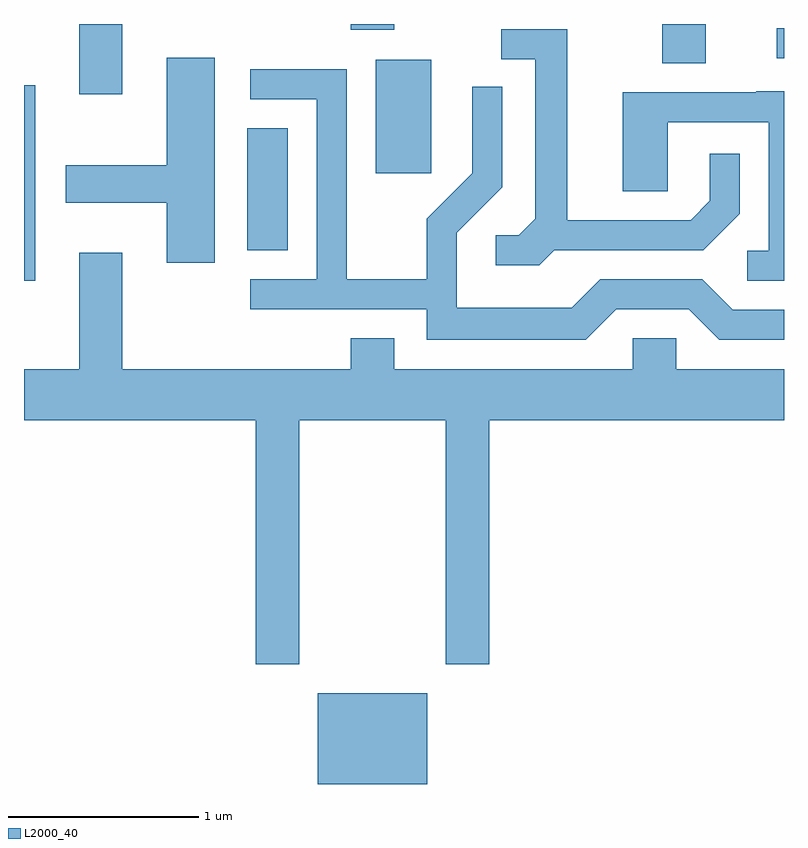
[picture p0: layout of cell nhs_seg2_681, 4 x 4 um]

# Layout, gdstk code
import gdstk
lib = gdstk.Library(unit=1e-6, precision=1e-09)
def R(c, l, rs):  # rectangles x0, y0, x1, y1
    for r in rs: c.add(gdstk.rectangle(r[:2], r[2:], *l))
def P(c, l, *ps):  # polygons
    for p in ps: c.add(gdstk.Polygon(p, *l))
L2000_40 = (2000, 40)

nhs_seg2_681 = lib.new_cell('nhs_seg2_681')
R(nhs_seg2_681, L2000_40, [(207.156,979.802,207.734,980.279), (205.611,982.451,205.669,983.479), (206.786,982.611,206.999,983.254), (207.461,983.016,207.754,983.614), (205.901,983.431,206.129,983.802), (208.971,983.596,209.199,983.802), (209.573,983.621,209.611,983.779), (207.331,983.771,207.559,983.802)])
P(nhs_seg2_681, L2000_40, [(208.402,982.611),(209.187,982.611),(209.379,982.804),(209.379,983.118),(209.221,983.118),(209.221,982.872),(209.119,982.769),(208.469,982.769),(208.469,983.774),(208.123,983.774),(208.123,983.616),(208.301,983.616),(208.301,982.777),(208.214,982.689),(208.093,982.689),(208.093,982.531),(208.322,982.531)],
  [(206.614,983.624),(206.361,983.624),(206.361,983.059),(205.831,983.059),(205.831,982.861),(206.361,982.861),(206.361,982.546),(206.614,982.546)],
  [(208.727,982.301),(209.109,982.301),(209.269,982.141),(209.611,982.141),(209.611,982.299),(209.342,982.299),(209.182,982.459),(208.644,982.459),(208.494,982.309),(207.889,982.309),(207.889,982.704),(208.129,982.944),(208.129,983.473),(207.971,983.473),(207.971,983.017),(207.731,982.777),(207.731,982.459),(207.309,982.459),(207.309,983.564),(206.803,983.564),(206.803,983.406),(207.151,983.406),(207.151,982.459),(206.803,982.459),(206.803,982.301),(207.731,982.301),(207.731,982.141),(208.567,982.141)],
  [(209.611,983.449),(209.465,983.449),(209.465,983.444),(208.761,983.444),(208.761,982.921),(208.999,982.921),(208.999,983.286),(209.531,983.286),(209.531,982.609),(209.418,982.609),(209.418,982.451),(209.611,982.451)],
  [(207.059,981.716),(207.831,981.716),(207.831,980.431),(208.059,980.431),(208.059,981.716),(209.611,981.716),(209.611,981.984),(209.044,981.984),(209.044,982.149),(208.816,982.149),(208.816,981.984),(207.559,981.984),(207.559,982.149),(207.331,982.149),(207.331,981.984),(206.129,981.984),(206.129,982.599),(205.901,982.599),(205.901,981.984),(205.611,981.984),(205.611,981.716),(206.831,981.716),(206.831,980.431),(207.059,980.431)])

lib.write_gds('nhs_seg2_681.gds')
